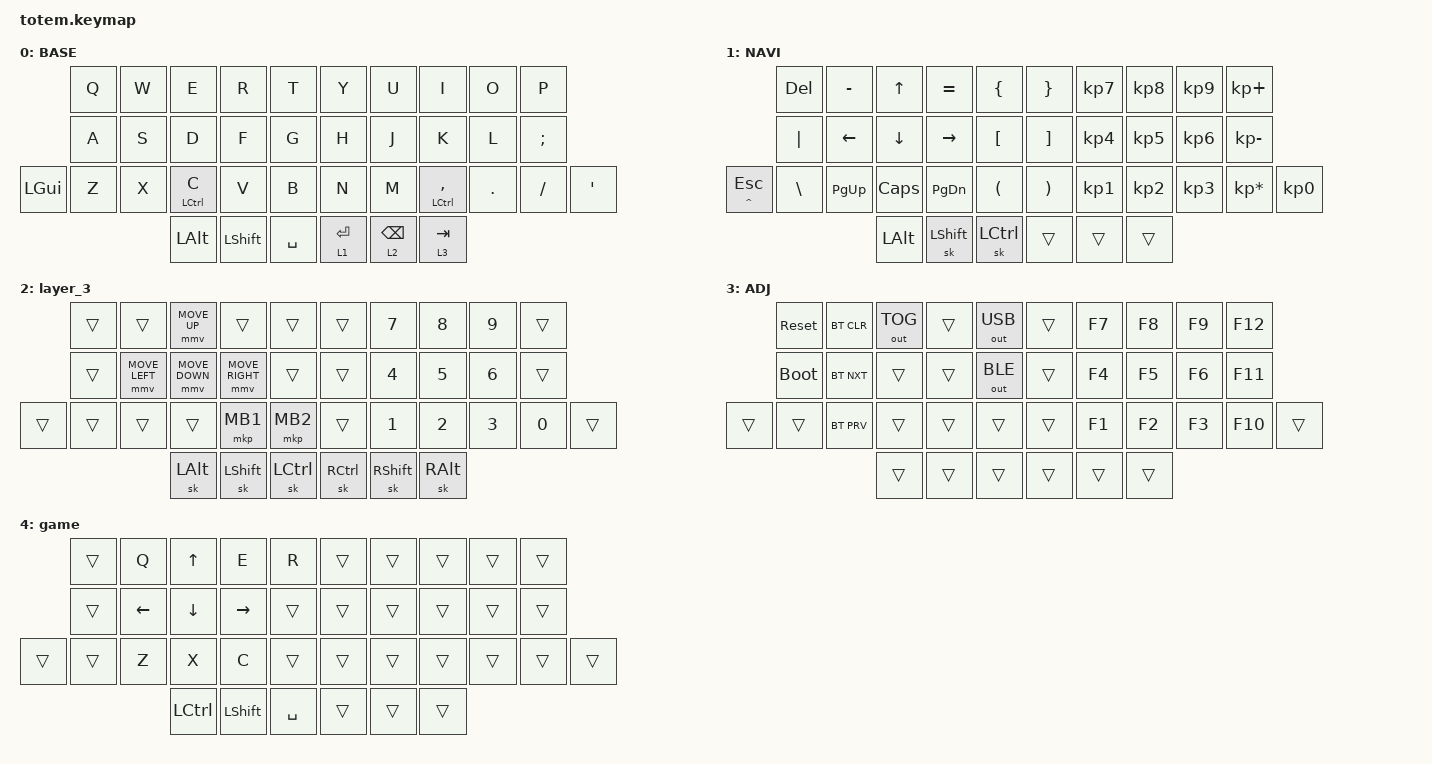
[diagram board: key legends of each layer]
//
//                                                        ▀▀▀▀▀     ▀▀▀▀▀          ▀▀█▀▀
//                                                        ▄▀▀▀▄  ▄  ▄▀▀▀▄  ▄  ▄▀▀▀▄  █  ▄▀▀▀▄
//                                                        █   █  █  █   █  █  █   █  █  █   █
//                                                         ▀▀▀   █   ▀▀▀   █   ▀▀▀   ▀   ▀▀▀
//                                                               █      ▄▄▄█▄▄▄    █   █  
//                                                               ▀      █  █  █     █▄█
//                                                             ▀▀▀▀▀    █  █  █      ▀
//                                                                      ▀  ▀  ▀
//
// ▄▄▄▄▄▄▄▄▄▄▄▄▄▄▄▄▄▄▄▄▄▄▄▄▄▄▄▄▄▄▄▄▄▄▄▄▄▄▄▄▄▄▄▄▄▄▄▄▄▄▄▄▄▄▄▄▄▄▄▄▄▄▄▄▄▄▄▄▄▄▄▄▄▄▄▄▄▄▄▄▄▄▄▄▄▄▄▄▄▄▄▄▄▄▄▄▄▄▄▄▄▄▄▄▄▄▄▄▄▄▄▄▄▄▄▄▄▄▄▄▄▄▄▄▄▄▄▄▄▄▄▄▄▄▄▄▄▄▄▄▄▄▄▄▄▄▄▄▄

#include <behaviors.dtsi>
#include <dt-bindings/zmk/bt.h>
#include <dt-bindings/zmk/keys.h>
#include <dt-bindings/zmk/outputs.h>
#include <dt-bindings/zmk/pointing.h>

#define BASE 0
#define NAV  1
#define SYM  2
#define ADJ  3
#define TVP1 4
#define TVP2 5

&mt {
    quick-tap-ms = <100>;
    global-quick-tap;
    flavor = "tap-preferred";
    tapping-term-ms = <200>;
};

/ {
    combos {
        compatible = "zmk,combos";

        tolayer0 {
            bindings = <&to 0>;
            key-positions = <37 5>;
        };

        toLayer1 {
            bindings = <&to 1>;
            key-positions = <37 6>;
        };

        tolayer2 {
            bindings = <&to 2>;
            key-positions = <37 7>;
        };

        tolayer3 {
            bindings = <&to 3>;
            key-positions = <37 8>;
        };

        togamelayer {
            bindings = <&to 4>;
            key-positions = <37 9>;
        };

        stickyalt {
            bindings = <&sk RIGHT_ALT>;
            key-positions = <35 34>;
        };
    };

    keymap {
        compatible = "zmk,keymap";

        // ▄▄▄▄▄▄▄▄▄▄▄▄▄▄▄▄▄▄▄▄▄▄▄▄▄▄▄▄▄▄▄▄▄▄▄▄▄▄▄▄▄▄▄▄▄▄▄▄▄▄▄▄▄▄▄▄▄▄▄▄▄▄▄▄▄▄▄▄▄▄▄▄▄▄▄▄▄▄▄▄▄▄▄▄▄▄▄▄▄▄▄▄▄▄▄▄▄▄▄▄▄▄▄▄▄▄▄▄▄▄▄▄▄▄▄▄▄▄▄▄▄▄▄▄▄▄▄▄▄▄▄▄▄▄▄▄▄▄▄▄▄▄▄▄▄▄▄▄▄

        base_layer {
            // ┏━━━━━━━━━━━━━━━━━━━━━━━━━━━━━━━━━━━━━━━┓

            label = "BASE";

            // ┗━━━━━━━━━━━━━━━━━━━━━━━━━━━━━━━━━━━━━━━┛
            //             ┏━━━━━━━━━━━┳━━━━━━━━━━━┳━━━━━━━━━━━┳━━━━━━━━━━━┳━━━━━━━━━━━┓   ┏━━━━━━━━━━━┳━━━━━━━━━━━┳━━━━━━━━━━━┳━━━━━━━━━━━┳━━━━━━━━━━━┓
            //             ┃     Q     ┃     W     ┃     F     ┃     P     ┃     G     ┃   ┃     J     ┃     L     ┃     U     ┃     Y     ┃     ;     ┃
            //             ┣━━━━━━━━━━━╋━━━━━━━━━━━╋━━━━━━━━━━━╋━━━━━━━━━━━╋━━━━━━━━━━━┫   ┣━━━━━━━━━━━╋━━━━━━━━━━━╋━━━━━━━━━━━╋━━━━━━━━━━━╋━━━━━━━━━━━┫
            //             ┃     A     ┃     R     ┃     S     ┃     T     ┃     D     ┃   ┃     H     ┃     N     ┃     E     ┃     I     ┃     O     ┃
            // ┏━━━━━━━━━━━╋━━━━━━━━━━━╋━━━━━━━━━━━╋━━━━━━━━━━━╋━━━━━━━━━━━╋━━━━━━━━━━━┫   ┣━━━━━━━━━━━╋━━━━━━━━━━━╋━━━━━━━━━━━╋━━━━━━━━━━━╋━━━━━━━━━━━╋━━━━━━━━━━━┓
            // ┃     Q     ┃     Z     ┃     X     ┃     C     ┃     V     ┃     B     ┃   ┃     K     ┃     M     ┃     ,     ┃     .     ┃     /     ┃     \     ┃
            // ┗━━━━━━━━━━━┻━━━━━━━━━━━┻━━━━━━━━━━━╋━━━━━━━━━━━╋━━━━━━━━━━━╋━━━━━━━━━━━┫   ┣━━━━━━━━━━━╋━━━━━━━━━━━╋━━━━━━━━━━━╋━━━━━━━━━━━┻━━━━━━━━━━━┻━━━━━━━━━━━┛
            //                                     ┃    DEL    ┃    TAB    ┃    SPC    ┃   ┃   ENTER   ┃           ┃   BSPC    ┃
            //                                     ┗━━━━━━━━━━━┻━━━━━━━━━━━┻━━━━━━━━━━━┛   ┗━━━━━━━━━━━┻━━━━━━━━━━━┻━━━━━━━━━━━┛

            bindings = <
          &kp Q  &kp W  &kp E         &kp R           &kp T        &kp Y        &kp U            &kp I            &kp O    &kp P
          &kp A  &kp S  &kp D         &kp F           &kp G        &kp H        &kp J            &kp K            &kp L    &kp SEMICOLON
&kp LGUI  &kp Z  &kp X  &mt LCTRL C   &kp V           &kp B        &kp N        &kp M            &mt LCTRL COMMA  &kp DOT  &kp FSLH       &kp SQT
                        &kp LEFT_ALT  &kp LEFT_SHIFT  &kp SPACE    &lt 1 ENTER  &lt 2 BACKSPACE  &lt 3 TAB
            >;
        };

        nav_layer {
            // ┏━━━━━━━━━━━━━━━━━━━━━━━━━━━━━━━━━━━━━━━┓

            label = "NAVI";

            // ┗━━━━━━━━━━━━━━━━━━━━━━━━━━━━━━━━━━━━━━━┛
            //             ┏━━━━━━━━━━━┳━━━━━━━━━━━┳━━━━━━━━━━━┳━━━━━━━━━━━┳━━━━━━━━━━━┓   ┏━━━━━━━━━━━┳━━━━━━━━━━━┳━━━━━━━━━━━┳━━━━━━━━━━━┳━━━━━━━━━━━┓
            //             ┃           ┃           ┃     UP    ┃           ┃     {     ┃   ┃     }     ┃     7     ┃     8     ┃     9     ┃     +     ┃
            //             ┣━━━━━━━━━━━╋━━━━━━━━━━━╋━━━━━━━━━━━╋━━━━━━━━━━━╋━━━━━━━━━━━┫   ┣━━━━━━━━━━━╋━━━━━━━━━━━╋━━━━━━━━━━━╋━━━━━━━━━━━╋━━━━━━━━━━━┫
            //             ┃   SHIFT   ┃   LEFT    ┃    DOWN   ┃   RIGHT   ┃     [     ┃   ┃     ]     ┃     4     ┃     5     ┃     6     ┃     -     ┃
            // ┏━━━━━━━━━━━╋━━━━━━━━━━━╋━━━━━━━━━━━╋━━━━━━━━━━━╋━━━━━━━━━━━╋━━━━━━━━━━━┫   ┣━━━━━━━━━━━╋━━━━━━━━━━━╋━━━━━━━━━━━╋━━━━━━━━━━━╋━━━━━━━━━━━╋━━━━━━━━━━━┓
            // ┃           ┃           ┃   P UP    ┃  C LOCK   ┃  P DOWN   ┃     (     ┃   ┃     )     ┃     1     ┃     2     ┃     3     ┃     *     ┃           ┃
            // ┗━━━━━━━━━━━┻━━━━━━━━━━━┻━━━━━━━━━━━╋━━━━━━━━━━━╋━━━━━━━━━━━╋━━━━━━━━━━━┫   ┣━━━━━━━━━━━╋━━━━━━━━━━━╋━━━━━━━━━━━╋━━━━━━━━━━━┻━━━━━━━━━━━┻━━━━━━━━━━━┛
            //                                     ┃           ┃    TAB    ┃    SPC    ┃   ┃    DEL    ┃     0     ┃           ┃
            //                                     ┗━━━━━━━━━━━┻━━━━━━━━━━━┻━━━━━━━━━━━┛   ┗━━━━━━━━━━━┻━━━━━━━━━━━┻━━━━━━━━━━━┛

            bindings = <
                  &kp DELETE     &kp MINUS  &kp UP        &kp EQUAL       &kp LBRC     &kp RBRC  &kp KP_N7  &kp KP_N8  &kp KP_N9  &kp KP_PLUS
                  &kp PIPE       &kp LEFT   &kp DOWN      &kp RIGHT       &kp LBKT     &kp RBKT  &kp KP_N4  &kp KP_N5  &kp KP_N6  &kp KP_MINUS
&mt CARET ESCAPE  &kp BACKSLASH  &kp PG_UP  &kp CAPS      &kp PG_DN       &kp LPAR     &kp RPAR  &kp KP_N1  &kp KP_N2  &kp KP_N3  &kp KP_MULTIPLY  &kp KP_NUMBER_0
                                            &kp LEFT_ALT  &sk LEFT_SHIFT  &sk LCTRL    &trans    &trans     &trans
            >;
        };

        layer_3 {
            bindings = <
        &trans  &trans          &mmv MOVE_UP    &trans           &trans       &trans     &kp N7     &kp N8    &kp N9  &trans
        &trans  &mmv MOVE_LEFT  &mmv MOVE_DOWN  &mmv MOVE_RIGHT  &trans       &trans     &kp N4     &kp N5    &kp N6  &trans
&trans  &trans  &trans          &trans          &mkp MB1         &mkp MB2     &trans     &kp N1     &kp N2    &kp N3  &kp N0  &trans
                                &sk LALT        &sk LSHFT        &sk LCTRL    &sk RCTRL  &sk RSHFT  &sk RALT
            >;
        };

        adjust_layer {
            // ┏━━━━━━━━━━━━━━━━━━━━━━━━━━━━━━━━━━━━━━━┓

            label = "ADJ";

            // ┗━━━━━━━━━━━━━━━━━━━━━━━━━━━━━━━━━━━━━━━┛
            //             ┏━━━━━━━━━━━┳━━━━━━━━━━━┳━━━━━━━━━━━┳━━━━━━━━━━━┳━━━━━━━━━━━┓   ┏━━━━━━━━━━━┳━━━━━━━━━━━┳━━━━━━━━━━━┳━━━━━━━━━━━┳━━━━━━━━━━━┓
            //             ┃   RESET   ┃ BT CLEAR  ┃  OUT TOG  ┃           ┃           ┃   ┃           ┃    F7     ┃    F8     ┃    F9     ┃    F12    ┃
            //             ┣━━━━━━━━━━━╋━━━━━━━━━━━╋━━━━━━━━━━━╋━━━━━━━━━━━╋━━━━━━━━━━━┫   ┣━━━━━━━━━━━╋━━━━━━━━━━━╋━━━━━━━━━━━╋━━━━━━━━━━━╋━━━━━━━━━━━┫
            //             ┃ BOOTLOAD  ┃ BT NEXT   ┃           ┃           ┃           ┃   ┃           ┃    F4     ┃    F5     ┃    F6     ┃    F11    ┃
            // ┏━━━━━━━━━━━╋━━━━━━━━━━━╋━━━━━━━━━━━╋━━━━━━━━━━━╋━━━━━━━━━━━╋━━━━━━━━━━━┫   ┣━━━━━━━━━━━╋━━━━━━━━━━━╋━━━━━━━━━━━╋━━━━━━━━━━━╋━━━━━━━━━━━╋━━━━━━━━━━━┓
            // ┃           ┃           ┃ BT PREV   ┃           ┃           ┃           ┃   ┃           ┃    F1     ┃    F2     ┃    F3     ┃    F10    ┃           ┃
            // ┗━━━━━━━━━━━┻━━━━━━━━━━━┻━━━━━━━━━━━╋━━━━━━━━━━━╋━━━━━━━━━━━╋━━━━━━━━━━━┫   ┣━━━━━━━━━━━╋━━━━━━━━━━━╋━━━━━━━━━━━╋━━━━━━━━━━━┻━━━━━━━━━━━┻━━━━━━━━━━━┛
            //                                     ┃           ┃           ┃           ┃   ┃           ┃           ┃           ┃
            //                                     ┗━━━━━━━━━━━┻━━━━━━━━━━━┻━━━━━━━━━━━┛   ┗━━━━━━━━━━━┻━━━━━━━━━━━┻━━━━━━━━━━━┛

            bindings = <
        &sys_reset   &bt BT_CLR  &out OUT_TOG  &trans  &out OUT_USB    &trans  &kp F7  &kp F8  &kp F9  &kp F12
        &bootloader  &bt BT_NXT  &trans        &trans  &out OUT_BLE    &trans  &kp F4  &kp F5  &kp F6  &kp F11
&trans  &trans       &bt BT_PRV  &trans        &trans  &trans          &trans  &kp F1  &kp F2  &kp F3  &kp F10  &trans
                                 &trans        &trans  &trans          &trans  &trans  &trans
            >;
        };

        game {
            bindings = <
        &trans  &kp Q           &kp UP_ARROW    &kp E           &kp R        &trans  &trans  &trans  &trans  &trans
        &trans  &kp LEFT_ARROW  &kp DOWN_ARROW  &kp RIGHT       &trans       &trans  &trans  &trans  &trans  &trans
&trans  &trans  &kp Z           &kp X           &kp C           &trans       &trans  &trans  &trans  &trans  &trans  &trans
                                &kp LCTRL       &kp LEFT_SHIFT  &kp SPACE    &trans  &trans  &trans
            >;
        };

        // ▄▄▄▄▄▄▄▄▄▄▄▄▄▄▄▄▄▄▄▄▄▄▄▄▄▄▄▄▄▄▄▄▄▄▄▄▄▄▄▄▄▄▄▄▄▄▄▄▄▄▄▄▄▄▄▄▄▄▄▄▄▄▄▄▄▄▄▄▄▄▄▄▄▄▄▄▄▄▄▄▄▄▄▄▄▄▄▄▄▄▄▄▄▄▄▄▄▄▄▄▄▄▄▄▄▄▄▄▄▄▄▄▄▄▄▄▄▄▄▄▄▄▄▄▄▄▄▄▄▄▄▄▄▄▄▄▄▄▄▄▄▄▄▄▄▄▄▄▄
        // ▄▄▄▄▄▄▄▄▄▄▄▄▄▄▄▄▄▄▄▄▄▄▄▄▄▄▄▄▄▄▄▄▄▄▄▄▄▄▄▄▄▄▄▄▄▄▄▄▄▄▄▄▄▄▄▄▄▄▄▄▄▄▄▄▄▄▄▄▄▄▄▄▄▄▄▄▄▄▄▄▄▄▄▄▄▄▄▄▄▄▄▄▄▄▄▄▄▄▄▄▄▄▄▄▄▄▄▄▄▄▄▄▄▄▄▄▄▄▄▄▄▄▄▄▄▄▄▄▄▄▄▄▄▄▄▄▄▄▄▄▄▄▄▄▄▄▄▄▄
    };
};
